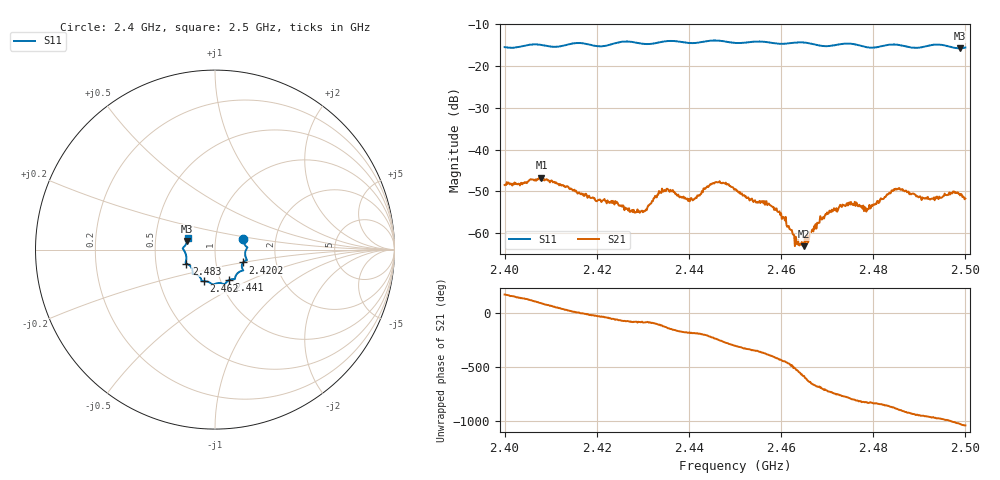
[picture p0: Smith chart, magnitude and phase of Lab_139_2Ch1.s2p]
# Hz S RI R 50
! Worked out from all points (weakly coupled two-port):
!   601 points, 2.4 GHz to 2.5 GHz, reference 50 ohm
!   highest |S21| = -46.75 dB at 2.408 GHz (marker M1); lowest = -63.1 dB at 2.465 GHz (marker M2)
!   lowest |S11| = -15.8 dB at 2.4988 GHz (marker M3), VSWR 1.39, Z = 36.4 + j3.45 ohm
!   |S11| at or under -10 dB: start of sweep to end of sweep
!   S12 and S22 are empty: the file has one direction only
!   S11 on the Smith chart (normalised r, x): 2.4 GHz: 1.36, +0.17; 2.4202 GHz: 1.35, -0.20; 2.441 GHz: 1.10, -0.39; 2.462 GHz: 0.83, -0.30; 2.483 GHz: 0.72, -0.12; 2.5 GHz: 0.73, +0.09
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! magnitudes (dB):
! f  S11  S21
! 2.4 GHz  -15.5  -48.5
! 2.408 GHz  -15.0  -46.7
! 2.4167 GHz  -14.6  -50.5
! 2.4202 GHz  -15.3  -52.2
! 2.4298 GHz  -14.7  -54.6
! 2.4333 GHz  -14.4  -50.8
! 2.4357 GHz  -14.0  -49.9
! 2.441 GHz  -14.6  -51.9
! 2.4462 GHz  -13.9  -47.8
! 2.45 GHz  -14.5  -49.5
! 2.4578 GHz  -14.5  -53.4
! 2.462 GHz  -14.6  -59.1
! 2.4635 GHz  -14.4  -62.7
! 2.465 GHz  -14.4  -63.1
! 2.4667 GHz  -14.7  -59.3
! 2.4732 GHz  -14.8  -53.7
! 2.4785 GHz  -15.5  -54.8
! 2.483 GHz  -15.0  -50.7
! 2.4833 GHz  -15.0  -50.6
! 2.4853 GHz  -15.0  -49.5
! 2.4988 GHz  -15.8  -51.0
! 2.5 GHz  -15.6  -51.7
